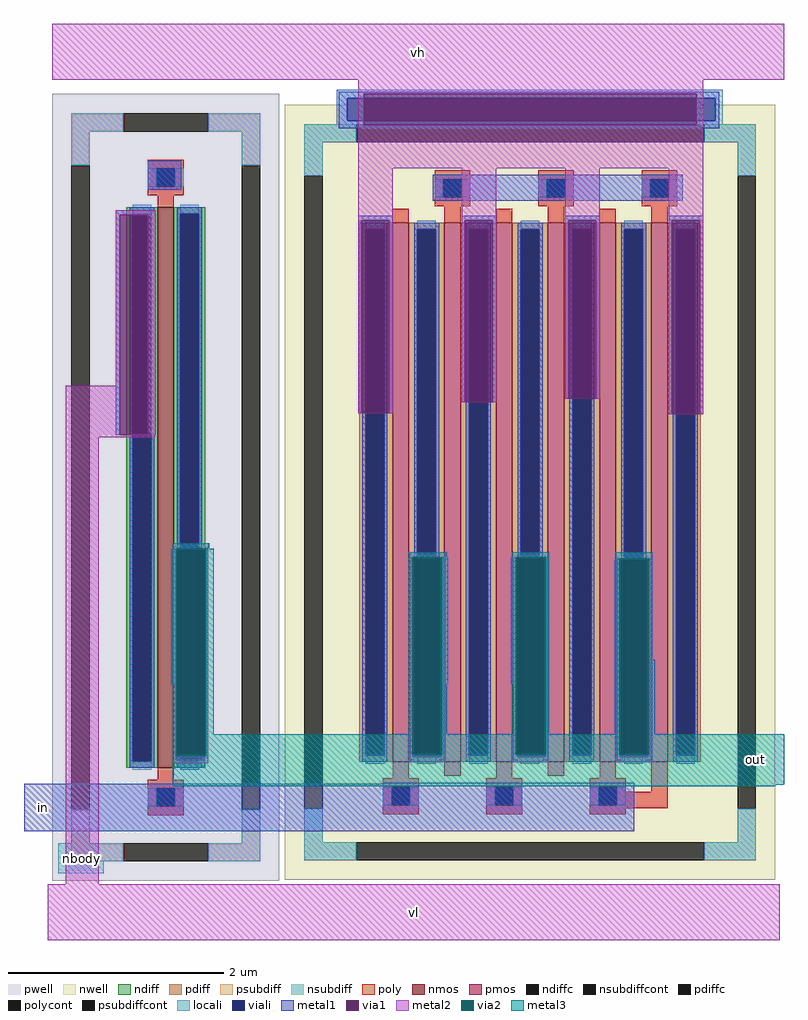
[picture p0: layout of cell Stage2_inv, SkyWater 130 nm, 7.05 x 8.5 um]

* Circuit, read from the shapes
.subckt Stage2_inv in vh vl nbody out
XM1 out in vl nbody sky130_fd_pr__nfet_01v8 w=5.2 l=0.15
XM2 out in vh vh sky130_fd_pr__pfet_01v8 w=5 l=0.15 m=6
.ends

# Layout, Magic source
magic
tech sky130A
magscale 1 2
<< nwell >>
rect 518 1248 582 1268
rect 710 1248 774 1264
rect 902 1248 966 1266
rect 518 1222 612 1248
rect 518 1208 596 1222
rect 710 1218 804 1248
rect 902 1220 996 1248
rect 710 1208 786 1218
rect 902 1208 980 1220
rect 518 1118 582 1208
rect 710 1114 774 1208
rect 902 1116 966 1208
rect 1094 1120 1158 1270
rect 612 332 684 566
rect 604 292 684 332
rect 678 148 708 158
rect 870 148 900 158
rect 564 96 1030 148
rect 1062 142 1092 158
<< pwell >>
rect 68 768 142 1184
<< poly >>
rect 1062 105 1092 151
rect 1009 101 1092 105
rect 997 75 1092 101
<< locali >>
rect 478 1392 1194 1408
rect 478 1350 498 1392
rect 1180 1350 1194 1392
rect 478 1336 1194 1350
rect -38 -46 46 10
<< viali >>
rect 498 1350 1180 1392
<< metal1 >>
rect 482 1400 1188 1404
rect 482 1392 528 1400
rect 1146 1392 1188 1400
rect 482 1350 498 1392
rect 1180 1350 1188 1392
rect 482 1342 528 1350
rect 1146 1342 1188 1350
rect 482 1336 1188 1342
rect 128 1222 190 1276
rect 656 1202 1120 1250
rect 68 1176 142 1184
rect 68 768 76 1176
rect 128 768 142 1176
rect 518 1166 582 1174
rect 518 808 524 1166
rect 576 808 582 1166
rect 710 1166 774 1174
rect 710 828 716 1166
rect 768 828 774 1166
rect 902 1166 966 1174
rect 902 834 908 1166
rect 960 834 966 1166
rect 1094 1166 1158 1174
rect 1094 806 1100 1166
rect 1152 806 1158 1166
rect 174 164 180 556
rect 232 164 240 556
rect 614 170 620 540
rect 672 170 680 540
rect 614 164 680 170
rect 806 170 812 540
rect 864 170 872 540
rect 806 164 872 170
rect 998 170 1004 538
rect 1056 170 1064 538
rect 998 164 1064 170
rect 174 158 240 164
rect 564 120 1030 122
rect -102 32 1030 120
<< via1 >>
rect 528 1392 1146 1400
rect 528 1350 1146 1392
rect 528 1342 1146 1350
rect 76 768 128 1176
rect 524 808 576 1166
rect 716 828 768 1166
rect 908 834 960 1166
rect 1100 806 1152 1166
rect 180 164 232 556
rect 620 170 672 540
rect 812 170 864 540
rect 1004 170 1056 538
<< metal2 >>
rect -50 1426 1308 1530
rect 518 1400 1158 1426
rect 518 1342 528 1400
rect 1146 1342 1158 1400
rect 518 1262 1158 1342
rect 68 1176 142 1184
rect 68 859 76 1176
rect -25 768 76 859
rect 128 768 142 1176
rect 518 1166 582 1262
rect 518 808 524 1166
rect 576 808 582 1166
rect 710 1166 774 1262
rect 710 828 716 1166
rect 768 828 774 1166
rect 902 1166 966 1262
rect 902 834 908 1166
rect 960 834 966 1166
rect 1094 1166 1158 1262
rect 1094 806 1100 1166
rect 1152 806 1158 1166
rect -25 763 141 768
rect -25 -66 37 763
rect 174 556 240 566
rect 174 164 180 556
rect 236 172 240 556
rect 614 540 680 550
rect 232 164 240 172
rect 174 158 240 164
rect 612 174 618 540
rect 674 174 680 540
rect 612 170 620 174
rect 672 170 680 174
rect 612 160 680 170
rect 804 540 872 550
rect 804 174 810 540
rect 866 174 872 540
rect 804 170 812 174
rect 864 170 872 174
rect 804 160 872 170
rect 996 538 1064 550
rect 996 174 1002 538
rect 1058 174 1064 538
rect 996 170 1004 174
rect 1056 170 1064 174
rect 996 160 1064 170
rect -58 -170 1300 -66
<< via2 >>
rect 180 172 232 556
rect 232 172 236 556
rect 618 174 620 540
rect 620 174 672 540
rect 672 174 674 540
rect 810 174 812 540
rect 812 174 864 540
rect 864 174 866 540
rect 1002 174 1004 538
rect 1004 174 1056 538
rect 1056 174 1058 538
<< metal3 >>
rect 174 556 242 566
rect 172 304 180 556
rect 174 172 180 304
rect 236 212 250 556
rect 612 540 682 550
rect 804 540 872 550
rect 612 212 618 540
rect 236 174 618 212
rect 674 306 684 540
rect 802 306 810 540
rect 674 212 682 306
rect 804 212 810 306
rect 674 174 810 212
rect 866 212 872 540
rect 996 538 1064 550
rect 994 212 1002 538
rect 866 174 1002 212
rect 1058 350 1064 538
rect 1058 212 1068 350
rect 1058 174 1308 212
rect 236 172 1308 174
rect 174 118 1308 172
rect 174 116 1292 118
use sky130_fd_pr__pfet_01v8_27F7GK  sky130_fd_pr__pfet_01v8_27F7GK_0
transform 1 0 837 0 1 661
box -455 -719 455 719
use sky130_fd_pr__nfet_01v8_LW2HKK  sky130_fd_pr__nfet_01v8_LW2HKK_0
transform 1 0 161 0 1 670
box -211 -730 211 730
<< labels >>
rlabel metal1 -102 32 -28 120 1 in
port 3 n
rlabel metal2 -54 -164 1294 -72 1 vl
port 9 n
rlabel locali -32 -40 40 4 1 nbody
port 10 n
rlabel metal2 -44 1430 1302 1524 1 vh
port 8 n
rlabel metal3 1208 122 1304 208 1 out
port 11 n
<< end >>

# cell sky130_fd_pr__pfet_01v8_27F7GK: kit device sky130_fd_pr__pfet_01v8, w 5 l 0.15 m 1 nf 6 diffcov 100 polycov 100 guard 1 glc 1 grc 1 gtc 1 gbc 1 tbcov 100 rlcov 100 topc 0 botc 0 poverlap 0 doverlap 1 lmin 0.15 wmin 0.42 compatible {sky130_fd_pr__pfet_01v8 sky130_fd_pr__pfet_01v8_lvt sky130_fd_pr__pfet_01v8_hvt sky130_fd_pr__pfet_g5v0d10v5} full_metal 1 viasrc 100 viadrn 100 viagate 100 viagb 0 viagr 0 viagl 0 viagt 0

# cell sky130_fd_pr__nfet_01v8_LW2HKK: kit device sky130_fd_pr__nfet_01v8, w 5.2 l 0.150 m 1 nf 1 diffcov 100 polycov 100 guard 1 glc 1 grc 1 gtc 1 gbc 1 tbcov 100 rlcov 100 topc 1 botc 1 poverlap 0 doverlap 1 lmin 0.15 wmin 0.42 compatible {sky130_fd_pr__nfet_01v8 sky130_fd_pr__nfet_01v8_lvt sky130_fd_bs_flash__special_sonosfet_star sky130_fd_pr__nfet_g5v0d10v5 sky130_fd_pr__nfet_05v0_nvt sky130_fd_pr__nfet_03v3_nvt} full_metal 1 viasrc 100 viadrn 100 viagate 100 viagb 0 viagr 0 viagl 0 viagt 0
